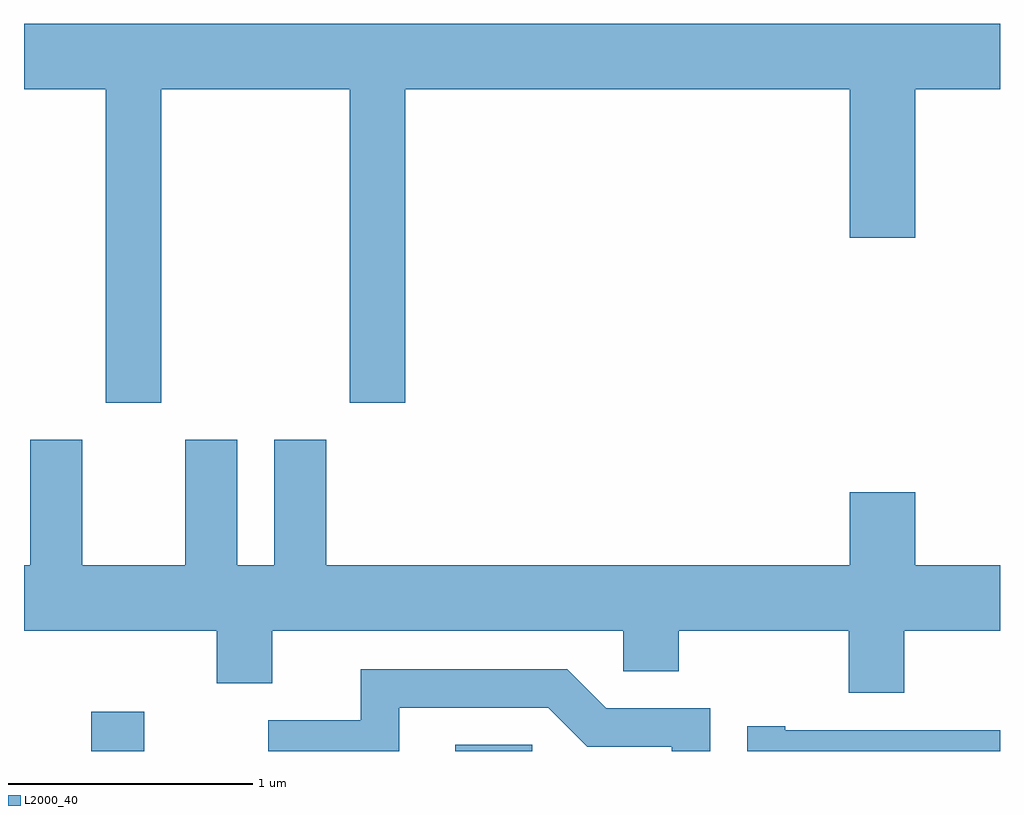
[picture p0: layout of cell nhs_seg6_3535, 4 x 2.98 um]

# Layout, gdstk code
import gdstk
lib = gdstk.Library(unit=1e-6, precision=1e-09)
def R(c, l, rs):  # rectangles x0, y0, x1, y1
    for r in rs: c.add(gdstk.rectangle(r[:2], r[2:], *l))
def P(c, l, *ps):  # polygons
    for p in ps: c.add(gdstk.Polygon(p, *l))
L2000_40 = (2000, 40)

nhs_seg6_3535 = lib.new_cell('nhs_seg6_3535')
R(nhs_seg6_3535, L2000_40, [(291.886,1596.162,292.104,1596.324), (293.378,1596.162,293.694,1596.189)])
P(nhs_seg6_3535, L2000_40, [(292.174,1598.876),(292.946,1598.876),(292.946,1597.591),(293.174,1597.591),(293.174,1598.876),(294.996,1598.876),(294.996,1598.266),(295.264,1598.266),(295.264,1598.876),(295.611,1598.876),(295.611,1599.144),(291.611,1599.144),(291.611,1598.876),(291.946,1598.876),(291.946,1597.591),(292.174,1597.591)],
  [(295.219,1596.656),(295.611,1596.656),(295.611,1596.924),(295.264,1596.924),(295.264,1597.224),(294.996,1597.224),(294.996,1596.924),(292.849,1596.924),(292.849,1597.439),(292.636,1597.439),(292.636,1596.924),(292.484,1596.924),(292.484,1597.439),(292.271,1597.439),(292.271,1596.924),(291.849,1596.924),(291.849,1597.439),(291.636,1597.439),(291.636,1596.924),(291.611,1596.924),(291.611,1596.656),(292.401,1596.656),(292.401,1596.441),(292.629,1596.441),(292.629,1596.656),(294.066,1596.656),(294.066,1596.491),(294.294,1596.491),(294.294,1596.656),(294.991,1596.656),(294.991,1596.401),(295.219,1596.401)],
  [(293.149,1596.341),(293.759,1596.341),(293.919,1596.181),(294.266,1596.181),(294.266,1596.162),(294.424,1596.162),(294.424,1596.339),(293.997,1596.339),(293.837,1596.499),(292.991,1596.499),(292.991,1596.289),(292.611,1596.289),(292.611,1596.162),(293.149,1596.162)],
  [(295.611,1596.249),(294.73,1596.249),(294.73,1596.264),(294.576,1596.264),(294.576,1596.162),(295.611,1596.162)])

lib.write_gds('nhs_seg6_3535.gds')
